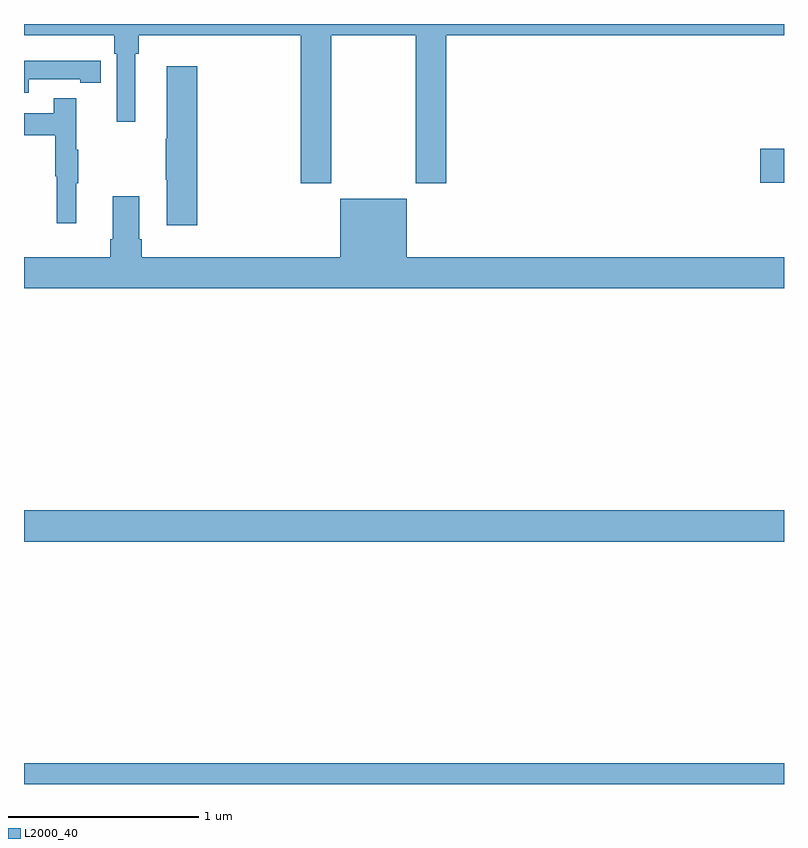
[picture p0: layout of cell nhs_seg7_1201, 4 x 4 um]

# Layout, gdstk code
import gdstk
lib = gdstk.Library(unit=1e-6, precision=1e-09)
def R(c, l, rs):  # rectangles x0, y0, x1, y1
    for r in rs: c.add(gdstk.rectangle(r[:2], r[2:], *l))
def P(c, l, *ps):  # polygons
    for p in ps: c.add(gdstk.Polygon(p, *l))
L2000_40 = (2000, 40)

nhs_seg7_1201 = lib.new_cell('nhs_seg7_1201')
R(nhs_seg7_1201, L2000_40, [(195,1006,199,1006.108), (195,1007.276,199,1007.44), (198.876,1009.165,199,1009.343)])
P(nhs_seg7_1201, L2000_40, [(195,1009.94),(195.476,1009.94),(195.476,1009.844),(195.489,1009.844),(195.489,1009.485),(195.586,1009.485),(195.586,1009.844),(195.605,1009.844),(195.605,1009.94),(196.457,1009.94),(196.457,1009.161),(196.617,1009.161),(196.617,1009.94),(197.062,1009.94),(197.062,1009.161),(197.222,1009.161),(197.222,1009.94),(199,1009.94),(199,1010),(195,1010)],
  [(195.024,1009.71),(195.296,1009.71),(195.296,1009.69),(195.404,1009.69),(195.404,1009.806),(195.296,1009.806),(195.296,1009.807),(195,1009.807),(195,1009.638),(195.024,1009.638)],
  [(195.911,1009.777),(195.752,1009.777),(195.752,1009.397),(195.745,1009.397),(195.745,1009.18),(195.752,1009.18),(195.752,1008.942),(195.911,1008.942)],
  [(195.275,1009.163),(195.286,1009.163),(195.286,1009.337),(195.275,1009.337),(195.275,1009.609),(195.157,1009.609),(195.157,1009.53),(195,1009.53),(195,1009.414),(195.165,1009.414),(195.165,1009.2),(195.172,1009.2),(195.172,1008.951),(195.275,1008.951)],
  [(199,1008.772),(197.014,1008.772),(197.014,1009.081),(196.664,1009.081),(196.664,1008.772),(195.62,1008.772),(195.62,1008.868),(195.607,1008.868),(195.607,1009.093),(195.467,1009.093),(195.467,1008.868),(195.455,1008.868),(195.455,1008.772),(195,1008.772),(195,1008.608),(199,1008.608)])

lib.write_gds('nhs_seg7_1201.gds')
